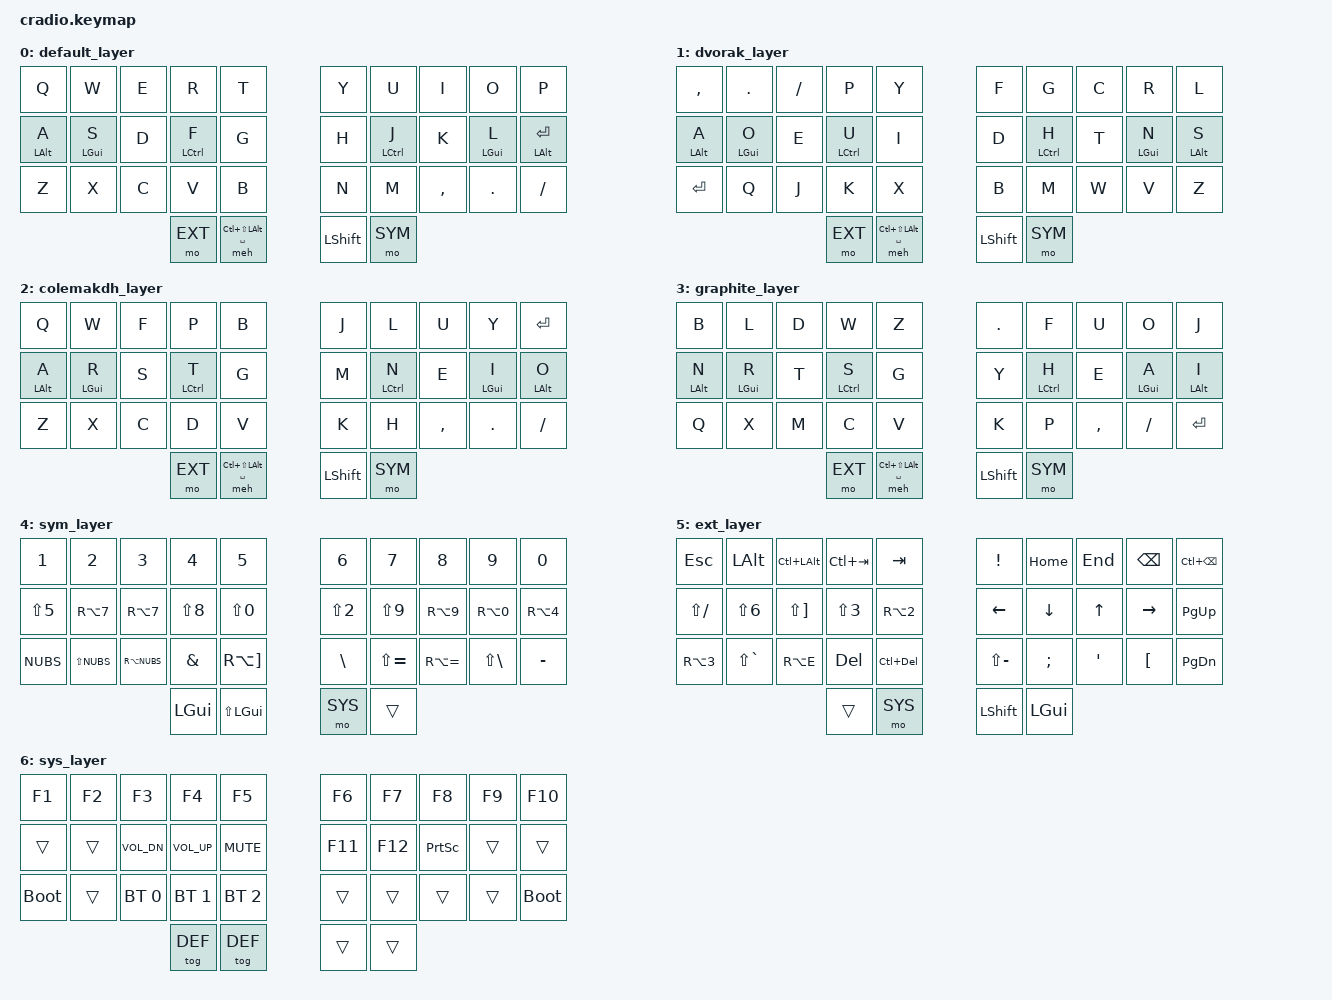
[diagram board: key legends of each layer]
// Copyright (c) 2022 The ZMK Contributors
// SPDX-License-Identifier: MIT

#include <behaviors.dtsi>
#include <dt-bindings/zmk/keys.h>
#include <dt-bindings/zmk/bt.h>
#include "zmk-helpers/helper.h"
#include "zmk-helpers/key-labels/34.h"

#define HM_TAPPING_TERM 300
#define HM_TAPPING_TERM_FAST 200
#define HM_PRIOR_IDLE 150

#define KEYS_L LT0 LT1 LT2 LT3 LT4 LM0 LM1 LM2 LM3 LM4 LB0 LB1 LB2 LB3 LB4  // left hand
#define KEYS_R RT0 RT1 RT2 RT3 RT4 RM0 RM1 RM2 RM3 RM4 RB0 RB1 RB2 RB3 RB4  // right hand
#define THUMBS LH1 LH0 RH0 RH1 // thumbs

#define ___ &trans

#define DEF 0
#define DEV 1
#define COL 2
#define GRA 3
#define SYM 4
#define EXT 5
#define SYS 6

ZMK_HOLD_TAP(hml,
    flavor = "balanced";
    tapping-term-ms = <280>;
    require-prior-idle-ms = <150>;
    hold-trigger-key-positions = <KEYS_R THUMBS>;
    hold-trigger-on-release;
    bindings = <&kp>, <&kp>;
)

ZMK_HOLD_TAP(hmr,
    flavor = "balanced";
    tapping-term-ms = <280>;
    require-prior-idle-ms = <150>;
    hold-trigger-key-positions = <KEYS_L THUMBS>;
    hold-trigger-on-release;
    bindings = <&kp>, <&kp>;
)

ZMK_HOLD_TAP(meh,
    flavor = "balanced";
    tapping-term-ms = <280>;
    require-prior-idle-ms = <150>;
    hold-trigger-key-positions = <KEYS_L KEYS_R THUMBS>;
    hold-trigger-on-release;
    bindings = <&kp>, <&kp>;
)


ZMK_COMBO(cmbsym, &mo SYS, RH1 RH0, DEF) // SYS layer
ZMK_COMBO(cmbsym2, &mo SYS, LH1 LH0, DEF) // SYS layer
ZMK_COMBO(cmbdev, &to DEV, RB0 RB1 RB2, DEF) // dvorak_layer
ZMK_COMBO(cmbcol, &to COL, RB0 RB1 RB2, DEV) // colemakdh
ZMK_COMBO(cmbgra, &to GRA, RB0 RB1 RB2, COL) // graphite_layer
ZMK_COMBO(cmbqwe, &to DEF, RB0 RB1 RB2, GRA) // qwerty_layer

// QWERTY
ZMK_LAYER(default_layer,

        //╭─────────────┬─────────────┬─────────────┬─────────────┬─────────────╮        ╭─────────────┬─────────────┬─────────────┬─────────────┬─────────────╮
            &kp Q         &kp W         &kp E         &kp R         &kp T                  &kp Y         &kp U         &kp I         &kp O         &kp P
        //├─────────────┼─────────────┼─────────────┼─────────────┼─────────────┤        ├─────────────┼─────────────┼─────────────┼─────────────┼─────────────┤
            &hml LALT A   &hml LGUI S   &kp D         &hml LCTRL F  &kp G                  &kp H         &hmr LCTRL J  &kp K         &hmr LGUI L   &hmr LALT ENTER
        //├─────────────┼─────────────┼─────────────┼─────────────┼─────────────┤        ├─────────────┼─────────────┼─────────────┼─────────────┼─────────────┤
            &kp Z         &kp X         &kp C         &kp V         &kp B                  &kp N         &kp M         &kp COMMA     &kp DOT       &kp FSLH
        //╰─────────────┴─────────────┴─────────────┼─────────────┼─────────────┤        ├─────────────┼─────────────┼─────────────┴─────────────┴─────────────╯
                                                      &mo EXT       &meh LC(LS(LALT)) SPC  &kp LSHFT     &mo SYM
        //                                          ╰─────────────┴─────────────╯        ╰─────────────┴─────────────╯
)

//DVORAK
ZMK_LAYER(dvorak_layer,

        //╭─────────────┬─────────────┬─────────────┬─────────────┬─────────────╮        ╭─────────────┬─────────────┬─────────────┬─────────────┬─────────────╮
            &kp COMMA     &kp DOT       &kp FSLH      &kp P         &kp Y                  &kp F         &kp G         &kp C         &kp R         &kp L
        //├─────────────┼─────────────┼─────────────┼─────────────┼─────────────┤        ├─────────────┼─────────────┼─────────────┼─────────────┼─────────────┤
            &hml LALT A   &hml LGUI O   &kp E         &hml LCTRL U  &kp I                  &kp D         &hmr LCTRL H  &kp T         &hmr LGUI N   &hmr LALT S
        //├─────────────┼─────────────┼─────────────┼─────────────┼─────────────┤        ├─────────────┼─────────────┼─────────────┼─────────────┼─────────────┤
            &kp ENTER     &kp Q         &kp J         &kp K         &kp X                  &kp B         &kp M         &kp W         &kp V         &kp Z
        //╰─────────────┴─────────────┴─────────────┼─────────────┼─────────────┤        ├─────────────┼─────────────┼─────────────┴─────────────┴─────────────╯
                                                      &mo EXT       &meh LC(LS(LALT)) SPC  &kp LSHFT     &mo SYM
        //                                          ╰─────────────┴─────────────╯        ╰─────────────┴─────────────╯
)

//COLEMAK DH
ZMK_LAYER(colemakdh_layer,

        //╭─────────────┬─────────────┬─────────────┬─────────────┬─────────────╮        ╭─────────────┬─────────────┬─────────────┬─────────────┬─────────────╮
            &kp Q         &kp W         &kp F         &kp P         &kp B                  &kp J         &kp L         &kp U         &kp Y         &kp ENTER
        //├─────────────┼─────────────┼─────────────┼─────────────┼─────────────┤        ├─────────────┼─────────────┼─────────────┼─────────────┼─────────────┤
            &hml LALT A   &hml LGUI R   &kp S         &hml LCTRL T  &kp G                  &kp M         &hmr LCTRL N  &kp E         &hmr LGUI I   &hmr LALT O
        //├─────────────┼─────────────┼─────────────┼─────────────┼─────────────┤        ├─────────────┼─────────────┼─────────────┼─────────────┼─────────────┤
            &kp Z         &kp X         &kp C         &kp D         &kp V                  &kp K         &kp H         &kp COMMA     &kp DOT       &kp FSLH
        //╰─────────────┴─────────────┴─────────────┼─────────────┼─────────────┤        ├─────────────┼─────────────┼─────────────┴─────────────┴─────────────╯
                                                      &mo EXT       &meh LC(LS(LALT)) SPC  &kp LSHFT     &mo SYM
        //                                          ╰─────────────┴─────────────╯        ╰─────────────┴─────────────╯
)



//GRAPHITE
ZMK_LAYER(graphite_layer,

        //╭─────────────┬─────────────┬─────────────┬─────────────┬─────────────╮        ╭─────────────┬─────────────┬─────────────┬─────────────┬─────────────╮
            &kp B         &kp L         &kp D         &kp W         &kp Z                  &kp DOT       &kp F         &kp U         &kp O         &kp J
        //├─────────────┼─────────────┼─────────────┼─────────────┼─────────────┤        ├─────────────┼─────────────┼─────────────┼─────────────┼─────────────┤
            &hml LALT N   &hml LGUI R   &kp T         &hml LCTRL S  &kp G                  &kp Y         &hmr LCTRL H  &kp E         &hmr LGUI A   &hmr LALT I
        //├─────────────┼─────────────┼─────────────┼─────────────┼─────────────┤        ├─────────────┼─────────────┼─────────────┼─────────────┼─────────────┤
            &kp Q         &kp X         &kp M         &kp C         &kp V                  &kp K         &kp P         &kp COMMA     &kp FSLH       &kp ENTER
        //╰─────────────┴─────────────┴─────────────┼─────────────┼─────────────┤        ├─────────────┼─────────────┼─────────────┴─────────────┴─────────────╯
                                                      &mo EXT       &meh LC(LS(LALT)) SPC  &kp LSHFT     &mo SYM
        //                                          ╰─────────────┴─────────────╯        ╰─────────────┴─────────────╯
)

ZMK_LAYER(sym_layer,

        //╭─────────────┬─────────────┬─────────────┬─────────────┬─────────────╮        ╭─────────────┬─────────────┬─────────────┬─────────────┬─────────────╮
            &kp N1        &kp N2        &kp N3        &kp N4        &kp N5                 &kp N6        &kp N7        &kp N8        &kp N9        &kp N0
        //├─────────────┼─────────────┼─────────────┼─────────────┼─────────────┤        ├─────────────┼─────────────┼─────────────┼─────────────┼─────────────┤
            &kp LS(N5)    &kp RA(N7)    &kp RA(N7)    &kp LS(N8)    &kp LS(N0)             &kp LS(N2)    &kp LS(N9)    &kp RA(N9)    &kp RA(N0)    &kp RA(N4)
        //├─────────────┼─────────────┼─────────────┼─────────────┼─────────────┤        ├─────────────┼─────────────┼─────────────┼─────────────┼─────────────┤
            &kp NUBS      &kp LS(NUBS)  &kp RA(NUBS)  &kp AMPS      &kp RA(RBKT)           &kp BSLH      &kp LS(EQUAL) &kp RA(EQUAL)  &kp LS(BSLH) &kp MINUS
        //╰─────────────┴─────────────┴─────────────┼─────────────┼─────────────┤        ├─────────────┼─────────────┼─────────────┴─────────────┴─────────────╯
                                                      &kp LGUI      &kp LS(LGUI)           &mo SYS       ___
        //                                          ╰─────────────┴─────────────╯        ╰─────────────┴─────────────╯
)

ZMK_LAYER(ext_layer,

        //╭─────────────┬─────────────┬─────────────┬─────────────┬─────────────╮        ╭─────────────┬─────────────┬─────────────┬─────────────┬─────────────╮
            &kp ESC       &kp LALT      &kp LC(LALT)  &kp LC(TAB)   &kp TAB                &kp EXCL       &kp HOME     &kp END       &kp BSPC  &kp LC(BSPC)
        //├─────────────┼─────────────┼─────────────┼─────────────┼─────────────┤        ├─────────────┼─────────────┼─────────────┼─────────────┼─────────────┤
            &kp LS(FSLH)  &kp LS(N6)    &kp LS(RBKT)  &kp LS(N3)    &kp RA(N2)             &kp LEFT       &kp DOWN     &kp UP        &kp RIGHT     &kp PG_UP
        //├─────────────┼─────────────┼─────────────┼─────────────┼─────────────┤        ├─────────────┼─────────────┼─────────────┼─────────────┼─────────────┤
            &kp RA(N3)    &kp LS(GRAVE) &kp RA(E)     &kp DEL       &kp LC(DEL)            &kp LS(MINUS)  &kp SEMI     &kp SQT       &kp LBKT      &kp PG_DN
        //╰─────────────┴─────────────┴─────────────┼─────────────┼─────────────┤        ├─────────────┼─────────────┼─────────────┴─────────────┴─────────────╯
                                                      ___           &mo SYS                &kp LSHFT      &kp LGUI
        //                                          ╰─────────────┴─────────────╯        ╰─────────────┴─────────────╯
)


ZMK_LAYER(sys_layer,

        //╭─────────────┬─────────────┬─────────────┬─────────────┬─────────────╮        ╭─────────────┬─────────────┬─────────────┬─────────────┬─────────────╮
            &kp F1        &kp F2        &kp F3        &kp F4        &kp F5                 &kp F6         &kp F7       &kp F8        &kp F9         &kp F10
        //├─────────────┼─────────────┼─────────────┼─────────────┼─────────────┤        ├─────────────┼─────────────┼─────────────┼─────────────┼─────────────┤
            ___           ___           &kp C_VOL_DN  &kp C_VOL_UP  &kp C_MUTE             &kp F11        &kp F12      &kp PSCRN     ___            ___
        //├─────────────┼─────────────┼─────────────┼─────────────┼─────────────┤        ├─────────────┼─────────────┼─────────────┼─────────────┼─────────────┤
            &bootloader   ___           &bt BT_SEL 0  &bt BT_SEL 1  &bt BT_SEL 2           ___           ___            ___          ___            &bootloader
        //╰─────────────┴─────────────┴─────────────┼─────────────┼─────────────┤        ├─────────────┼─────────────┼─────────────┴─────────────┴─────────────╯
                                                      &tog DEF      &tog DEF               ___           ___
        //                                          ╰─────────────┴─────────────╯        ╰─────────────┴─────────────╯
)



